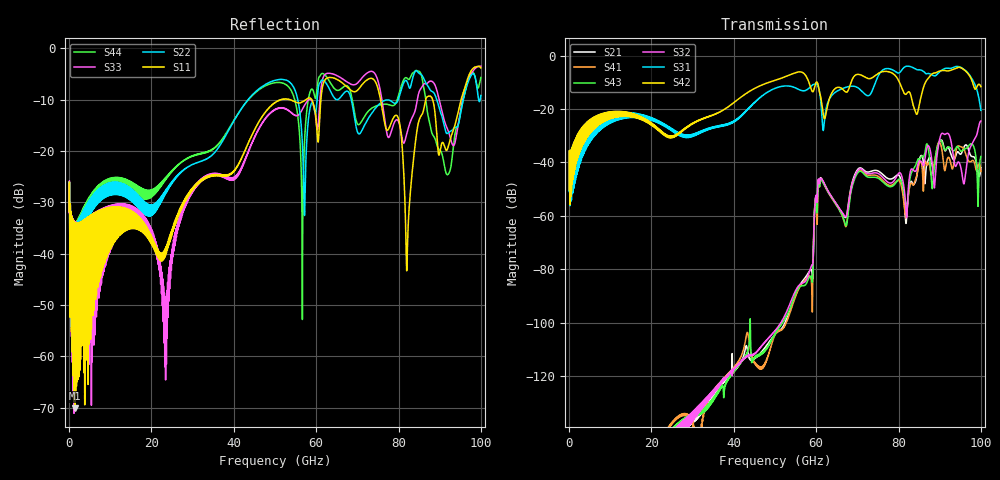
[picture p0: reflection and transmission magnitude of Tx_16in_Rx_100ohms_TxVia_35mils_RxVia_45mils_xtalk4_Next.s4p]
! Info: Touchstone file created by Circ.  Input file=Tx_16in_Rx_100ohms_TxVia_35mils_RxVia_45mils.circ
# Hz S RI R 50
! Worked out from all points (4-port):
!   10000 points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, 10 MHz to 100 GHz, reference 50 ohm
!   strongest paths, dB at 10 MHz, 25.01 GHz, 50.01 GHz, 75.01 GHz, 100 GHz:
!     S42: -50.3, -30.8, -9.3, -6.7, -11.6
!     S31: -50.9, -28.0, -12.3, -7.8, -20.5
!     S32: -, -141.7, -103.1, -44.1, -24.5
!     S43: -, -139.8, -104.3, -45.9, -37.8
!     S41: -, -137.4, -104.6, -45.2, -43.5
!     S21: -, -141.7, -104.4, -43.2, -42.0
!   lowest |S11| = -70.1 dB at 1.39 GHz (marker M1), VSWR 1.00, Z = 50 + j0.0267 ohm
!   |S11| at or under -10 dB: start of sweep to 51.49 GHz; 75.63 GHz to 86.6 GHz (10.97 GHz wide, 13.5 % of centre); 88.27 GHz to 95.2 GHz (6.934 GHz wide, 7.56 % of centre) (the widest 3 of 6)
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1e7  0.024 0.00877  9.36e-12 2.91e-12  0.000625 0.00279  1.12e-11 8.6e-12
     9.36e-12 2.91e-12  0.0247 0.00878  9.33e-12 3.58e-12  0.00118 0.00281
     0.000625 0.00279  9.33e-12 3.58e-12  0.0232 0.0093  8.68e-12 3.63e-12
     1.12e-11 8.6e-12  0.00118 0.00281  8.68e-12 3.63e-12  0.0245 0.00883
1.39e9  0.000161 0.000267  8.93e-10 9.55e-10  0.000534 0.013  1.55e-09 1.3e-09
        8.93e-10 9.55e-10  0.00385 0.00254  5.99e-10 9.75e-10  0.00239 0.0141
        0.000534 0.013  5.99e-10 9.75e-10  -0.000133 0.000501  1.02e-09 1.14e-09
        1.55e-09 1.3e-09  0.00239 0.0141  1.02e-09 1.14e-09  0.0042 0.00334
2.334e10  0.00634 0.00925  3.58e-08 4.71e-08  -0.0223 -0.042  6.77e-08 4.29e-08
          3.58e-08 4.71e-08  -0.0237 0.0306  1.91e-08 4.84e-08  -0.0312 -0.000772
          -0.0223 -0.042  1.91e-08 4.84e-08  0.00321 0.00193  3.74e-08 5.91e-08
          6.77e-08 4.29e-08  -0.0312 -0.000772  3.74e-08 5.91e-08  -0.035 0.0395
5.819e10  0.3231 0.0489  2.27e-06 8.76e-05  0.1416 -0.1974  1.71e-05 7.22e-05
          2.27e-06 8.76e-05  0.2003 0.0768  -3.97e-06 8.18e-05  -0.2546 0.1988
          0.1416 -0.1974  -3.97e-06 8.18e-05  0.2867 0.1295  8.37e-06 6.7e-05
          1.71e-05 7.22e-05  -0.2546 0.1988  8.37e-06 6.7e-05  0.2928 0.1575
6.096e10  0.1736 0.1779  0.00441 -0.00227  -0.1775 0.00525  0.004 -0.00208
          0.00441 -0.00227  0.428 -0.1719  0.00417 -0.00244  0.0454 0.1831
          -0.1775 0.00525  0.00417 -0.00244  0.2085 0.2558  0.00376 -0.00225
          0.004 -0.00208  0.0454 0.1831  0.00376 -0.00225  0.4984 -0.2025
8.211e10  0.00563 -0.00778  -0.00136 -4.3e-05  -0.0738 -0.6281  -0.00128 0.000668
          -0.00136 -4.3e-05  -0.1652 -0.4388  -0.000205 -0.00137  -0.038 0.1959
          -0.0738 -0.6281  -0.000205 -0.00137  0.0737 -0.1339  0.000125 -0.00161
          -0.00128 0.000668  -0.038 0.1959  0.000125 -0.00161  -0.1114 -0.496
1e11  -0.5377 0.3524  -0.0057 -0.00549  0.0557 0.0759  0.00619 -0.00258
      -0.0057 -0.00549  -0.3443 0.0315  -0.0213 -0.0556  0.0185 0.261
      0.0557 0.0759  -0.0213 -0.0556  -0.5737 0.34  0.00715 0.0107
      0.00619 -0.00258  0.0185 0.261  0.00715 0.0107  -0.5122 0.0748
